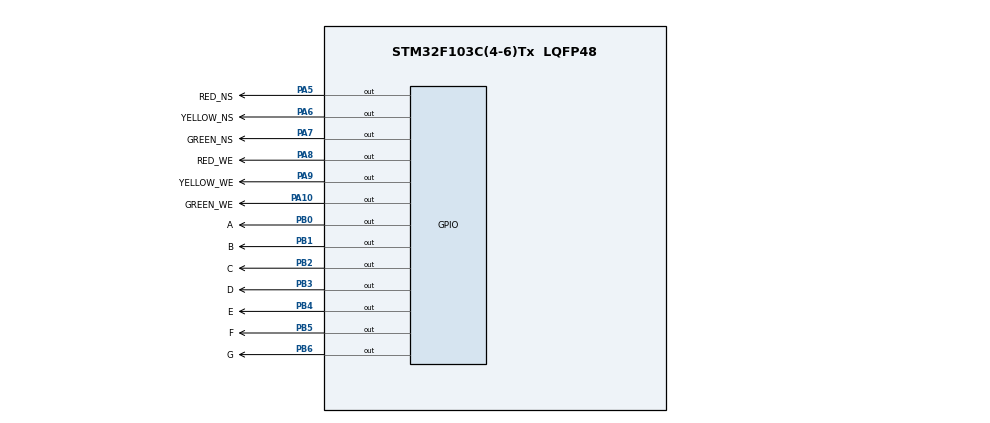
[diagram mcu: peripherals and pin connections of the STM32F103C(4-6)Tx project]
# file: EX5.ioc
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Mcu.Family=STM32F1
Mcu.Name=STM32F103C(4-6)Tx
Mcu.Package=LQFP48
NVIC.PriorityGroup=NVIC_PRIORITYGROUP_4
PA10.GPIO_Label=GREEN_WE
PA10.Signal=GPIO_Output
PA5.GPIO_Label=RED_NS
PA5.Signal=GPIO_Output
PA6.GPIO_Label=YELLOW_NS
PA6.Signal=GPIO_Output
PA7.GPIO_Label=GREEN_NS
PA7.Signal=GPIO_Output
PA8.GPIO_Label=RED_WE
PA8.Signal=GPIO_Output
PA9.GPIO_Label=YELLOW_WE
PA9.Signal=GPIO_Output
PB0.GPIO_Label=A
PB0.Signal=GPIO_Output
PB1.GPIO_Label=B
PB1.Signal=GPIO_Output
PB2.GPIO_Label=C
PB2.Signal=GPIO_Output
PB3.GPIO_Label=D
PB3.Signal=GPIO_Output
PB4.GPIO_Label=E
PB4.Signal=GPIO_Output
PB5.GPIO_Label=F
PB5.Signal=GPIO_Output
PB6.GPIO_Label=G
PB6.Signal=GPIO_Output
ProjectManager.HeapSize=0x200
ProjectManager.StackSize=0x400
ProjectManager.TargetToolchain=STM32CubeIDE
RCC.APB1Freq_Value=8000000
RCC.APB2Freq_Value=8000000
VP_SYS_VS_ND.Mode=No_Debug
board=custom

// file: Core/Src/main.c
/* USER CODE BEGIN Header */
/**
  ******************************************************************************
  * @file           : main.c
  * @brief          : Main program body
  ******************************************************************************
  * @attention
  *
  * <h2><center>&copy; Copyright (c) 2024 STMicroelectronics.
  * All rights reserved.</center></h2>
  *
  * This software component is licensed by ST under BSD 3-Clause license,
  * the "License"; You may not use this file except in compliance with the
  * License. You may obtain a copy of the License at:
  *                        opensource.org/licenses/BSD-3-Clause
  *
  ******************************************************************************
  */
/* USER CODE END Header */
#include "main.h"

void SystemClock_Config(void);
static void MX_GPIO_Init(void);

void display7LED(int counter){
	switch(counter){
	case 0:
		  HAL_GPIO_WritePin(A_GPIO_Port, A_Pin, RESET);
		  HAL_GPIO_WritePin(B_GPIO_Port, B_Pin, RESET);
		  HAL_GPIO_WritePin(C_GPIO_Port, C_Pin, RESET);
		  HAL_GPIO_WritePin(D_GPIO_Port, D_Pin, RESET);
		  HAL_GPIO_WritePin(E_GPIO_Port, E_Pin, RESET);
		  HAL_GPIO_WritePin(F_GPIO_Port, F_Pin, RESET);
		  HAL_GPIO_WritePin(G_GPIO_Port, G_Pin, SET);

		  break;
	case 1:
		  HAL_GPIO_WritePin(A_GPIO_Port, A_Pin, SET);
		  HAL_GPIO_WritePin(B_GPIO_Port, B_Pin, RESET);
		  HAL_GPIO_WritePin(C_GPIO_Port, C_Pin, RESET);
		  HAL_GPIO_WritePin(D_GPIO_Port, D_Pin, SET);
		  HAL_GPIO_WritePin(E_GPIO_Port, E_Pin, SET);
		  HAL_GPIO_WritePin(F_GPIO_Port, F_Pin, SET);
		  HAL_GPIO_WritePin(G_GPIO_Port, G_Pin, SET);

		  break;
	case 2:
		  HAL_GPIO_WritePin(A_GPIO_Port, A_Pin, RESET);
		  HAL_GPIO_WritePin(B_GPIO_Port, B_Pin, RESET);
		  HAL_GPIO_WritePin(C_GPIO_Port, C_Pin, SET);
		  HAL_GPIO_WritePin(D_GPIO_Port, D_Pin, RESET);
		  HAL_GPIO_WritePin(E_GPIO_Port, E_Pin, RESET);
		  HAL_GPIO_WritePin(F_GPIO_Port, F_Pin, SET);
		  HAL_GPIO_WritePin(G_GPIO_Port, G_Pin, RESET);

		  break;
	case 3:
		  HAL_GPIO_WritePin(A_GPIO_Port, A_Pin, RESET);
		  HAL_GPIO_WritePin(B_GPIO_Port, B_Pin, RESET);
		  HAL_GPIO_WritePin(C_GPIO_Port, C_Pin, RESET);
		  HAL_GPIO_WritePin(D_GPIO_Port, D_Pin, RESET);
		  HAL_GPIO_WritePin(E_GPIO_Port, E_Pin, SET);
		  HAL_GPIO_WritePin(F_GPIO_Port, F_Pin, SET);
		  HAL_GPIO_WritePin(G_GPIO_Port, G_Pin, RESET);

		  break;
	case 4:
		  HAL_GPIO_WritePin(A_GPIO_Port, A_Pin, SET);
		  HAL_GPIO_WritePin(B_GPIO_Port, B_Pin, RESET);
		  HAL_GPIO_WritePin(C_GPIO_Port, C_Pin, RESET);
		  HAL_GPIO_WritePin(D_GPIO_Port, D_Pin, SET);
		  HAL_GPIO_WritePin(E_GPIO_Port, E_Pin, SET);
		  HAL_GPIO_WritePin(F_GPIO_Port, F_Pin, RESET);
		  HAL_GPIO_WritePin(G_GPIO_Port, G_Pin, RESET);

		  break;
	case 5:
		  HAL_GPIO_WritePin(A_GPIO_Port, A_Pin, RESET);
		  HAL_GPIO_WritePin(B_GPIO_Port, B_Pin, SET);
		  HAL_GPIO_WritePin(C_GPIO_Port, C_Pin, RESET);
		  HAL_GPIO_WritePin(D_GPIO_Port, D_Pin, RESET);
		  HAL_GPIO_WritePin(E_GPIO_Port, E_Pin, SET);
		  HAL_GPIO_WritePin(F_GPIO_Port, F_Pin, RESET);
		  HAL_GPIO_WritePin(G_GPIO_Port, G_Pin, RESET);

		  break;
	case 6:
		  HAL_GPIO_WritePin(A_GPIO_Port, A_Pin, RESET);
		  HAL_GPIO_WritePin(B_GPIO_Port, B_Pin, SET);
		  HAL_GPIO_WritePin(C_GPIO_Port, C_Pin, RESET);
		  HAL_GPIO_WritePin(D_GPIO_Port, D_Pin, RESET);
		  HAL_GPIO_WritePin(E_GPIO_Port, E_Pin, RESET);
		  HAL_GPIO_WritePin(F_GPIO_Port, F_Pin, RESET);
		  HAL_GPIO_WritePin(G_GPIO_Port, G_Pin, RESET);

		  break;
	case 7:
		  HAL_GPIO_WritePin(A_GPIO_Port, A_Pin, RESET);
		  HAL_GPIO_WritePin(B_GPIO_Port, B_Pin, RESET);
		  HAL_GPIO_WritePin(C_GPIO_Port, C_Pin, RESET);
		  HAL_GPIO_WritePin(D_GPIO_Port, D_Pin, SET);
		  HAL_GPIO_WritePin(E_GPIO_Port, E_Pin, SET);
		  HAL_GPIO_WritePin(F_GPIO_Port, F_Pin, SET);
		  HAL_GPIO_WritePin(G_GPIO_Port, G_Pin, SET);

		  break;
	case 8:
		  HAL_GPIO_WritePin(A_GPIO_Port, A_Pin, RESET);
		  HAL_GPIO_WritePin(B_GPIO_Port, B_Pin, RESET);
		  HAL_GPIO_WritePin(C_GPIO_Port, C_Pin, RESET);
		  HAL_GPIO_WritePin(D_GPIO_Port, D_Pin, RESET);
		  HAL_GPIO_WritePin(E_GPIO_Port, E_Pin, RESET);
		  HAL_GPIO_WritePin(F_GPIO_Port, F_Pin, RESET);
		  HAL_GPIO_WritePin(G_GPIO_Port, G_Pin, RESET);

		  break;
	default:
		  HAL_GPIO_WritePin(A_GPIO_Port, A_Pin, RESET);
		  HAL_GPIO_WritePin(B_GPIO_Port, B_Pin, RESET);
		  HAL_GPIO_WritePin(C_GPIO_Port, C_Pin, RESET);
		  HAL_GPIO_WritePin(D_GPIO_Port, D_Pin, RESET);
		  HAL_GPIO_WritePin(E_GPIO_Port, E_Pin, SET);
		  HAL_GPIO_WritePin(F_GPIO_Port, F_Pin, RESET);
		  HAL_GPIO_WritePin(G_GPIO_Port, G_Pin, RESET);

		  break;
	}
}

typedef enum{
	RED_NS,GREEN_NS
}direction;
int main(void)
{

  /* MCU Configuration--------------------------------------------------------*/

  /* Reset of all peripherals, Initializes the Flash interface and the Systick. */
  HAL_Init();

  /* Configure the system clock */
  SystemClock_Config();

  /* Initialize all configured peripherals */
  MX_GPIO_Init();
  /* USER CODE BEGIN 2 */
  	direction NS=RED_NS;
    int red=0,yellow=0,green=0,active=0;
  /* USER CODE END 2 */

  /* Infinite loop */
  while (1)
  {

    /* USER CODE BEGIN 3 */
	  switch(NS){
	   	  case RED_NS:
	   		  if(active == 0){
	   		   active=1;
	   		   red=5;
	   		   green=3;
	   		   yellow=2;

	   		  }

	   		  if(red != 0){
	   		    HAL_GPIO_WritePin(RED_NS_GPIO_Port, RED_NS_Pin, RESET);
	   		    HAL_GPIO_WritePin(YELLOW_NS_GPIO_Port, YELLOW_NS_Pin, SET);
	   		    HAL_GPIO_WritePin(GREEN_NS_GPIO_Port, GREEN_NS_Pin, SET);
	   		   display7LED(red);
	   		    red--;
	   		  }
	   		  if(green != 0){

	   		  HAL_GPIO_WritePin(RED_WE_GPIO_Port, RED_WE_Pin, SET);
	   		  HAL_GPIO_WritePin(YELLOW_WE_GPIO_Port, YELLOW_WE_Pin, SET);
	   		  HAL_GPIO_WritePin(GREEN_WE_GPIO_Port, GREEN_WE_Pin, RESET);

	   		  green--;
	   		  }else if(green == 0 && yellow != 0){
	   			  HAL_GPIO_WritePin(RED_WE_GPIO_Port, RED_WE_Pin, SET);
	   			  HAL_GPIO_WritePin(YELLOW_WE_GPIO_Port, YELLOW_WE_Pin, RESET);
	   			  HAL_GPIO_WritePin(GREEN_WE_GPIO_Port, GREEN_WE_Pin, SET);

	   			  yellow--;
	   		  }
	   		  if(red == 0 && yellow == 0 && green == 0 && active == 1){
	   			  active=0;
	   			  NS=GREEN_NS;
	   		  }
	   		  break;
	   	  case GREEN_NS:
	   		  if(active == 0){
	   		   active=1;
	   		   red=5;
	   		   green=3;
	   		   yellow=2;

	   		  }

	   		  if(green != 0){
	   		    HAL_GPIO_WritePin(RED_NS_GPIO_Port, RED_NS_Pin, SET);
	   		    HAL_GPIO_WritePin(YELLOW_NS_GPIO_Port, YELLOW_NS_Pin, SET);
	   		    HAL_GPIO_WritePin(GREEN_NS_GPIO_Port, GREEN_NS_Pin, RESET);
	   		   display7LED(green);
	   		    green--;
	   		  }else if(green == 0 && yellow != 0){
	   			    HAL_GPIO_WritePin(RED_NS_GPIO_Port, RED_NS_Pin, SET);
	   			    HAL_GPIO_WritePin(YELLOW_NS_GPIO_Port, YELLOW_NS_Pin, RESET);
	   			    HAL_GPIO_WritePin(GREEN_NS_GPIO_Port, GREEN_NS_Pin, SET);
	   			   display7LED(yellow);
	   			    yellow--;
	   		  }
	   		  if(red!=0){
	   		    HAL_GPIO_WritePin(RED_WE_GPIO_Port, RED_WE_Pin, RESET);
	   		    HAL_GPIO_WritePin(YELLOW_WE_GPIO_Port, YELLOW_WE_Pin, SET);
	   		    HAL_GPIO_WritePin(GREEN_WE_GPIO_Port, GREEN_WE_Pin, SET);

	   		    red--;
	   		  }
	   		  if(red == 0 && yellow == 0 && green == 0 && active == 1){
	   			  active=0;
	   			  NS=RED_NS;
	   		  }
	   		  break;

	   	  }
	   	HAL_Delay(1000);

  }
  /* USER CODE END 3 */
}

void SystemClock_Config(void)
{
  RCC_OscInitTypeDef RCC_OscInitStruct = {0};
  RCC_ClkInitTypeDef RCC_ClkInitStruct = {0};

  /** Initializes the RCC Oscillators according to the specified parameters
  * in the RCC_OscInitTypeDef structure.
  */
  RCC_OscInitStruct.OscillatorType = RCC_OSCILLATORTYPE_HSI;
  RCC_OscInitStruct.HSIState = RCC_HSI_ON;
  RCC_OscInitStruct.HSICalibrationValue = RCC_HSICALIBRATION_DEFAULT;
  RCC_OscInitStruct.PLL.PLLState = RCC_PLL_NONE;
  if (HAL_RCC_OscConfig(&RCC_OscInitStruct) != HAL_OK)
  {
    Error_Handler();
  }
  /** Initializes the CPU, AHB and APB buses clocks
  */
  RCC_ClkInitStruct.ClockType = RCC_CLOCKTYPE_HCLK|RCC_CLOCKTYPE_SYSCLK
                              |RCC_CLOCKTYPE_PCLK1|RCC_CLOCKTYPE_PCLK2;
  RCC_ClkInitStruct.SYSCLKSource = RCC_SYSCLKSOURCE_HSI;
  RCC_ClkInitStruct.AHBCLKDivider = RCC_SYSCLK_DIV1;
  RCC_ClkInitStruct.APB1CLKDivider = RCC_HCLK_DIV1;
  RCC_ClkInitStruct.APB2CLKDivider = RCC_HCLK_DIV1;

  if (HAL_RCC_ClockConfig(&RCC_ClkInitStruct, FLASH_LATENCY_0) != HAL_OK)
  {
    Error_Handler();
  }
}

static void MX_GPIO_Init(void)
{
  GPIO_InitTypeDef GPIO_InitStruct = {0};

  /* GPIO Ports Clock Enable */
  __HAL_RCC_GPIOA_CLK_ENABLE();
  __HAL_RCC_GPIOB_CLK_ENABLE();

  /*Configure GPIO pin Output Level */
  HAL_GPIO_WritePin(GPIOA, RED_NS_Pin|YELLOW_NS_Pin|GREEN_NS_Pin|RED_WE_Pin
                          |YELLOW_WE_Pin|GREEN_WE_Pin, GPIO_PIN_RESET);

  /*Configure GPIO pin Output Level */
  HAL_GPIO_WritePin(GPIOB, A_Pin|B_Pin|C_Pin|D_Pin
                          |E_Pin|F_Pin|G_Pin, GPIO_PIN_RESET);

  /*Configure GPIO pins : RED_NS_Pin YELLOW_NS_Pin GREEN_NS_Pin RED_WE_Pin
                           YELLOW_WE_Pin GREEN_WE_Pin */
  GPIO_InitStruct.Pin = RED_NS_Pin|YELLOW_NS_Pin|GREEN_NS_Pin|RED_WE_Pin
                          |YELLOW_WE_Pin|GREEN_WE_Pin;
  GPIO_InitStruct.Mode = GPIO_MODE_OUTPUT_PP;
  GPIO_InitStruct.Pull = GPIO_NOPULL;
  GPIO_InitStruct.Speed = GPIO_SPEED_FREQ_LOW;
  HAL_GPIO_Init(GPIOA, &GPIO_InitStruct);

  /*Configure GPIO pins : A_Pin B_Pin C_Pin D_Pin
                           E_Pin F_Pin G_Pin */
  GPIO_InitStruct.Pin = A_Pin|B_Pin|C_Pin|D_Pin
                          |E_Pin|F_Pin|G_Pin;
  GPIO_InitStruct.Mode = GPIO_MODE_OUTPUT_PP;
  GPIO_InitStruct.Pull = GPIO_NOPULL;
  GPIO_InitStruct.Speed = GPIO_SPEED_FREQ_LOW;
  HAL_GPIO_Init(GPIOB, &GPIO_InitStruct);

}

void Error_Handler(void)
{
  __disable_irq();
  while (1)
  {
  }
}

/************************ (C) COPYRIGHT STMicroelectronics *****END OF FILE****/
